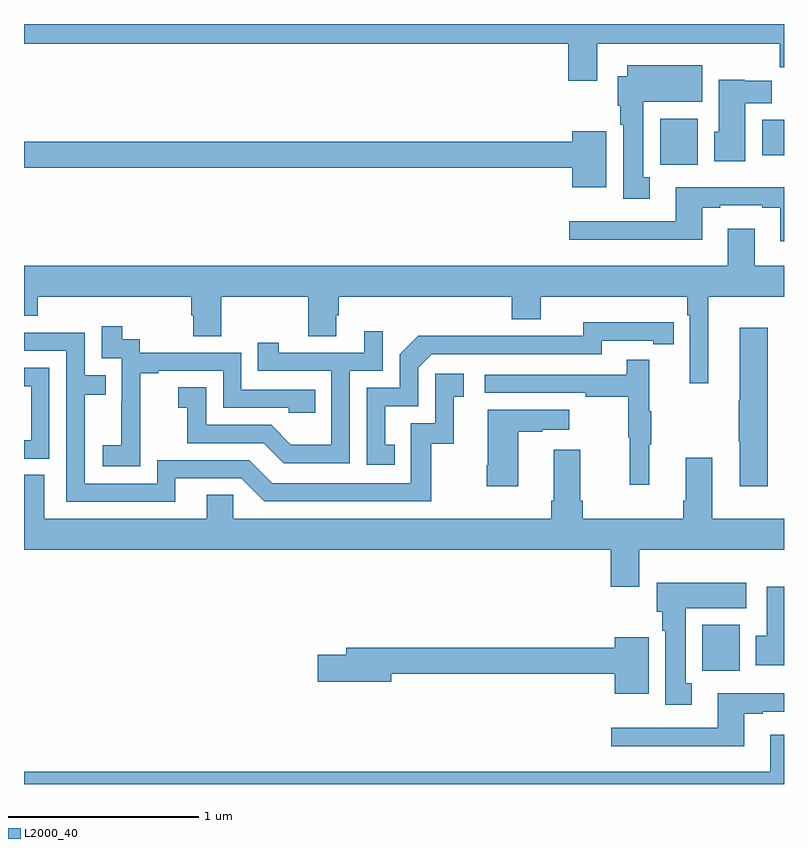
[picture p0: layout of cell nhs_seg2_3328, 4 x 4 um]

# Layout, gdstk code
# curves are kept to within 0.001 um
import gdstk
lib = gdstk.Library(unit=1e-6, precision=1e-09)
def R(c, l, rs):  # rectangles x0, y0, x1, y1
    for r in rs: c.add(gdstk.rectangle(r[:2], r[2:], *l))
def P(c, l, *ps):  # polygons
    for p in ps: c.add(gdstk.Polygon(p, *l))
L2000_40 = (2000, 40)

nhs_seg2_3328 = lib.new_cell('nhs_seg2_3328')
R(nhs_seg2_3328, L2000_40, [(290.57,584.396,290.767,584.638), (290.348,587.06,290.545,587.302), (290.885,587.108,291,587.296)])
P(nhs_seg2_3328, L2000_40, [(290.017,587.696),(290.977,587.696),(290.977,587.572),(291,587.572),(291,587.8),(287,587.8),(287,587.696),(289.865,587.696),(289.865,587.502),(290.017,587.502)],
  [(290.293,586.994),(290.26,586.994),(290.26,587.39),(290.569,587.39),(290.569,587.584),(290.174,587.584),(290.174,587.524),(290.126,587.524),(290.126,587.37),(290.138,587.37),(290.138,587.27),(290.153,587.27),(290.153,586.881),(290.293,586.881)],
  [(290.797,587.384),(290.936,587.384),(290.936,587.502),(290.793,587.502),(290.793,587.506),(290.657,587.506),(290.657,587.232),(290.633,587.232),(290.633,587.078),(290.797,587.078)],
  [(290.065,587.236),(289.886,587.236),(289.886,587.18),(287,587.18),(287,587.044),(289.886,587.044),(289.886,586.94),(290.065,586.94)],
  [(291,586.942),(290.429,586.942),(290.429,586.761),(289.869,586.761),(289.869,586.664),(290.569,586.664),(290.569,586.833),(290.665,586.833),(290.665,586.845),(290.885,586.845),(290.885,586.833),(290.981,586.833),(290.981,586.656),(291,586.656)],
  [(290.602,586.364),(291,586.364),(291,586.528),(290.845,586.528),(290.845,586.723),(290.705,586.723),(290.705,586.528),(287,586.528),(287,586.265),(287.072,586.265),(287.072,586.364),(287.879,586.364),(287.879,586.266),(287.891,586.266),(287.891,586.156),(288.039,586.156),(288.039,586.364),(288.496,586.364),(288.496,586.156),(288.643,586.156),(288.643,586.266),(288.656,586.266),(288.656,586.364),(289.568,586.364),(289.568,586.247),(289.72,586.247),(289.72,586.364),(290.492,586.364),(290.492,586.268),(290.505,586.268),(290.505,585.909),(290.602,585.909)],
  [(288.95,585.585),(288.901,585.585),(288.901,585.789),(289.074,585.789),(289.074,585.99),(289.146,586.062),(290.04,586.062),(290.04,586.134),(290.312,586.134),(290.312,586.114),(290.42,586.114),(290.42,586.23),(289.944,586.231),(289.944,586.158),(289.484,586.158),(289.484,586.16),(289.076,586.16),(288.978,586.062),(288.978,585.885),(288.804,585.885),(288.804,585.48),(288.95,585.48)],
  [(287.613,585.679),(287.612,585.679),(287.612,585.963),(287.707,585.963),(287.707,585.975),(288.048,585.975),(288.048,585.78),(288.393,585.78),(288.393,585.753),(288.533,585.753),(288.533,585.876),(288.144,585.876),(288.144,586.071),(287.61,586.071),(287.61,586.14),(287.518,586.14),(287.518,586.21),(287.409,586.21),(287.409,586.041),(287.514,586.041),(287.514,585.812),(287.513,585.812),(287.513,585.583),(287.415,585.583),(287.415,585.473),(287.613,585.473)],
  [(290.914,586.201),(290.768,586.201),(290.768,585.821),(290.761,585.821),(290.761,585.604),(290.768,585.604),(290.768,585.366),(290.914,585.366)],
  [(288.714,585.975),(288.888,585.975),(288.888,586.183),(288.791,586.183),(288.791,586.071),(288.34,586.071),(288.34,586.123),(288.229,586.123),(288.229,585.975),(288.618,585.975),(288.618,585.586),(288.404,585.586),(288.3,585.69),(287.958,585.69),(287.958,585.889),(287.811,585.889),(287.811,585.779),(287.86,585.779),(287.86,585.594),(288.263,585.594),(288.368,585.489),(288.714,585.489)],
  [(287.797,585.408),(288.144,585.408),(288.264,585.288),(289.144,585.288),(289.144,585.591),(289.262,585.591),(289.262,585.837),(289.315,585.837),(289.315,585.958),(289.164,585.958),(289.164,585.699),(289.035,585.699),(289.035,585.384),(288.306,585.384),(288.186,585.504),(287.7,585.504),(287.7,585.381),(287.319,585.381),(287.319,585.85),(287.429,585.85),(287.429,585.951),(287.319,585.951),(287.319,586.176),(287,586.176),(287,586.08),(287.223,586.08),(287.223,585.285),(287.797,585.285)],
  [(290.291,585.587),(290.302,585.587),(290.302,585.761),(290.291,585.761),(290.291,586.033),(290.173,586.033),(290.173,585.954),(289.425,585.954),(289.425,585.858),(289.957,585.858),(289.957,585.838),(290.181,585.838),(290.181,585.624),(290.188,585.624),(290.188,585.375),(290.291,585.375)],
  [(287.133,585.99),(287,585.99),(287,585.894),(287.037,585.894),(287.037,585.609),(287,585.609),(287,585.513),(287.133,585.513)],
  [(289.6,585.655),(289.727,585.655),(289.727,585.665),(289.87,585.665),(289.87,585.769),(289.442,585.769),(289.442,585.478),(289.435,585.478),(289.435,585.366),(289.6,585.366)],
  [(290.239,585.032),(291,585.032),(291,585.196),(290.623,585.196),(290.623,585.517),(290.483,585.517),(290.483,585.292),(290.471,585.292),(290.471,585.196),(289.94,585.196),(289.94,585.292),(289.927,585.292),(289.927,585.559),(289.787,585.559),(289.787,585.292),(289.775,585.292),(289.775,585.196),(288.102,585.196),(288.102,585.323),(287.963,585.323),(287.963,585.196),(287.107,585.196),(287.107,585.428),(287,585.428),(287,585.032),(290.087,585.032),(290.087,584.838),(290.239,584.838)],
  [(290.515,584.33),(290.482,584.33),(290.482,584.726),(290.8,584.726),(290.8,584.86),(290.33,584.86),(290.33,584.706),(290.36,584.706),(290.36,584.606),(290.375,584.606),(290.375,584.217),(290.515,584.217)],
  [(291,584.839),(290.909,584.839),(290.909,584.58),(290.852,584.58),(290.852,584.424),(291,584.424)],
  [(290.287,584.572),(290.108,584.572),(290.108,584.516),(288.695,584.516),(288.695,584.48),(288.546,584.48),(288.546,584.338),(288.934,584.338),(288.934,584.38),(290.108,584.38),(290.108,584.276),(290.287,584.276)],
  [(290.791,584.169),(290.887,584.169),(290.887,584.181),(291,584.181),(291,584.278),(290.651,584.278),(290.651,584.097),(290.091,584.097),(290.091,584),(290.791,584)],
  [(291,584.059),(290.927,584.059),(290.927,583.864),(287,583.864),(287,583.8),(291,583.8)])

lib.write_gds('nhs_seg2_3328.gds')
